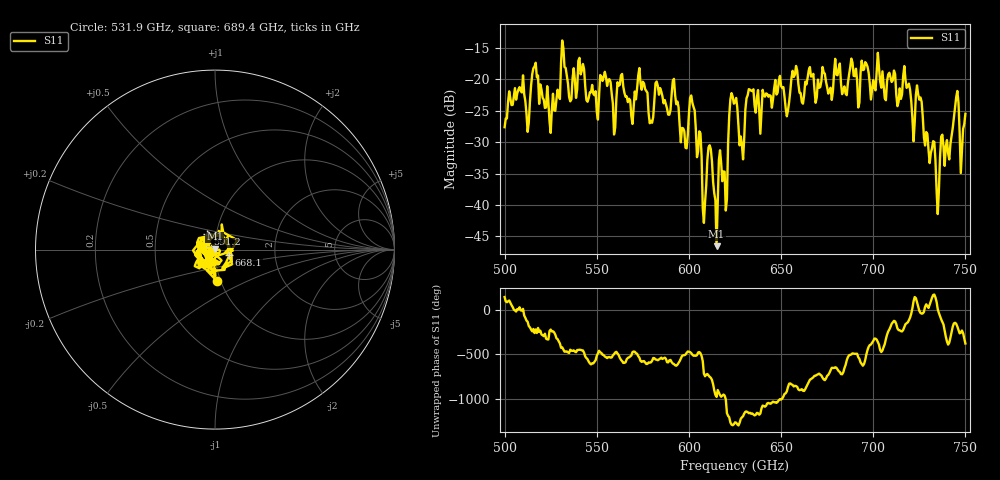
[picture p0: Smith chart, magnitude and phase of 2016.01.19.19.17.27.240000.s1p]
!Created with skrf (http://scikit-rf.org).
# GHz S RI R 50.0
!freq ReS11 ImS11
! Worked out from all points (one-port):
!   401 points, 500 GHz to 750 GHz, reference 50 ohm
!   lowest |S11| = -46.5 dB at 615 GHz (marker M1), VSWR 1.01, Z = 49.9 + j0.456 ohm
!   |S11| at or under -10 dB: start of sweep to end of sweep
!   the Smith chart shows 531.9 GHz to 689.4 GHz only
!   S11 on the Smith chart (normalised r, x): 531.9 GHz: 0.96, -0.35; 591.2 GHz: 0.90, +0.16; 668.1 GHz: 1.17, -0.07; 689.4 GHz: 0.86, -0.13
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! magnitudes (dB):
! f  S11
! 500 GHz  -27.6
! 508.8 GHz  -21.9
! 512.5 GHz  -28.4
! 516.2 GHz  -18.0
! 525.6 GHz  -24.9
! 531.2 GHz  -13.8
! 531.9 GHz  -15.0
! 559.4 GHz  -28.8
! 562.5 GHz  -20.9
! 579.4 GHz  -26.6
! 591.2 GHz  -20.3
! 593.8 GHz  -23.5
! 598.1 GHz  -30.9
! 601.9 GHz  -23.7
! 608.1 GHz  -42.8
! 611.2 GHz  -30.5
! 615 GHz  -46.5
! 625 GHz  -23.7
! 628.8 GHz  -30.4
! 632.5 GHz  -21.6
! 656.2 GHz  -18.7
! 668.1 GHz  -21.7
! 687.5 GHz  -18.1
! 689.4 GHz  -19.5
! 718.8 GHz  -21.1
! 735 GHz  -41.4
! 745 GHz  -22.9
! 750 GHz  -25.5
